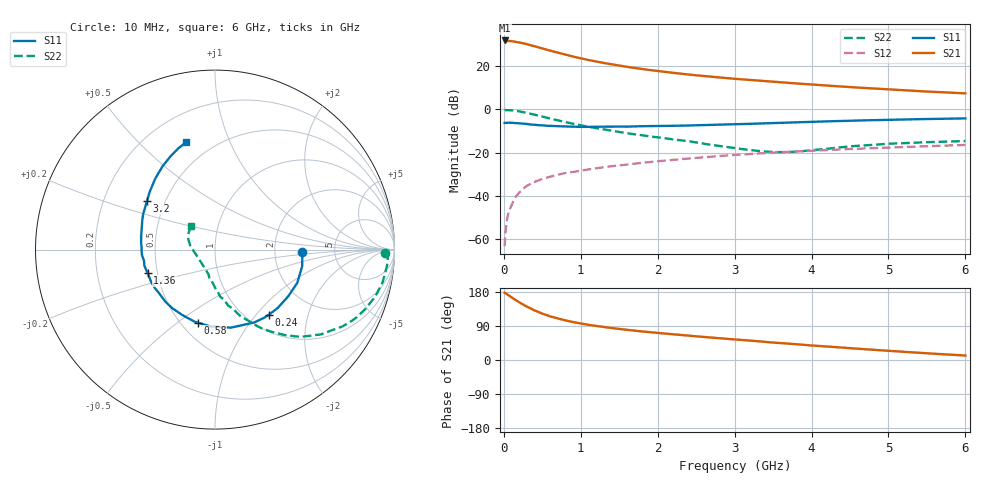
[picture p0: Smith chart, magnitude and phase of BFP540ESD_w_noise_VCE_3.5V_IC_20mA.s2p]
! Infineon Technologies  Discrete & RF Semiconductors
! BFP540ESD
! VCE =  3.5 V,  IC =  20 mA
! Common Emitter S-Parameters:  Nov 2015
# GHz  S  MA  R  50
!  f  S11  S21  S12  S22
! GHz  MAG  ANG  MAG  ANG  MAG  ANG  MAG  ANG
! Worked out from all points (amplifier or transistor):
!   210 points, 10 MHz to 6 GHz, reference 50 ohm
!   highest |S21| = 31.8 dB at 10 MHz (marker M1)
!   |S21| within 3 dB of that: start of sweep to 432 MHz
!   unconditionally stable (mu >= 1): start of sweep to 14.95 MHz; 2.183 GHz to end of sweep
!   at 185 MHz: K = 0.24, MSG = 35.0 dB, |S12| = -39.0 dB
!   at 1.52 GHz: K = 0.89, MSG = 22.9 dB, |S12| = -25.8 dB
!   at 6 GHz: K = 1.12, MAG = 9.8 dB, |S12| = -16.4 dB
!   lowest NFmin = 1.17 dB at 900 MHz
!   S11 on the Smith chart (normalised r, x): 10 MHz: 2.89, -0.10; 240 MHz: 1.24, -1.17; 580 MHz: 0.60, -0.60; 1.36 GHz: 0.44, -0.14; 3.2 GHz: 0.40, +0.27; 6 GHz: 0.36, +0.70
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0.01  0.487 -1.5  38.93 177.6  0.0007 79.8  0.9465 -1.2
0.02  0.4876 -4.1  38.3 176.8  0.0014 70.7  0.9648 -1.8
0.05  0.4945 -10.7  38.19 172.3  0.0035 72.9  0.9627 -5.3
0.1  0.4944 -22.0  37.54 165.5  0.0061 78.7  0.9514 -11.1
0.15  0.4839 -32.6  36.47 158.7  0.0094 77.3  0.9299 -16.5
0.2  0.4774 -43.0  35.08 152.3  0.012 72.1  0.8992 -21.8
0.24  0.4709 -50.7  33.84 147.5  0.0141 72.4  0.874 -25.6
0.3  0.4608 -61.9  31.95 140.7  0.0173 69.6  0.8302 -31.0
0.4  0.4438 -78.5  28.58 130.7  0.0213 65.8  0.7559 -38.7
0.5  0.4289 -93.3  25.57 122.3  0.0249 62.7  0.6827 -45.4
0.58  0.4181 -103.3  23.23 116.8  0.0274 61.6  0.6296 -49.5
0.7  0.4078 -116.0  20.39 109.6  0.031 60.5  0.5604 -55.1
0.8  0.4042 -126.1  18.26 104.4  0.034 58.7  0.5096 -59.4
1.02  0.3951 -142.2  14.78 95.6  0.039 57.5  0.423 -66.3
1.36  0.3978 -160.9  11.28 85.5  0.048 55.7  0.33 -75.2
1.7  0.4076 -175.3  9.035 77.3  0.0558 54.0  0.2673 -83.2
2.02  0.4135 174.5  7.598 71.0  0.0641 52.8  0.2251 -88.5
3.1  0.4593 146.9  4.925 52.7  0.0909 45.6  0.1213 -116.3
3.2  0.465 144.7  4.772 51.2  0.0933 44.7  0.1155 -121.2
4.1  0.5239 128.1  3.646 37.0  0.1133 37.0  0.1186 -175.7
5.1  0.5806 114.3  2.833 22.8  0.1337 28.3  0.1636 155.4
6  0.62 104.9  2.345 11.7  0.1512 21.7  0.1864 136.0
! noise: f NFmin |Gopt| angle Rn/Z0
0.9  1.17  0.28  -137  0.11
1.8  1.32  0.31  -144  0.11
2.4  1.35  0.32  -135  0.12
3  1.45  0.35  -130  0.13
4  1.53  0.47  -104  0.22
5  1.66  0.56  -87  0.31
6  1.97  0.55  -87  0.57
